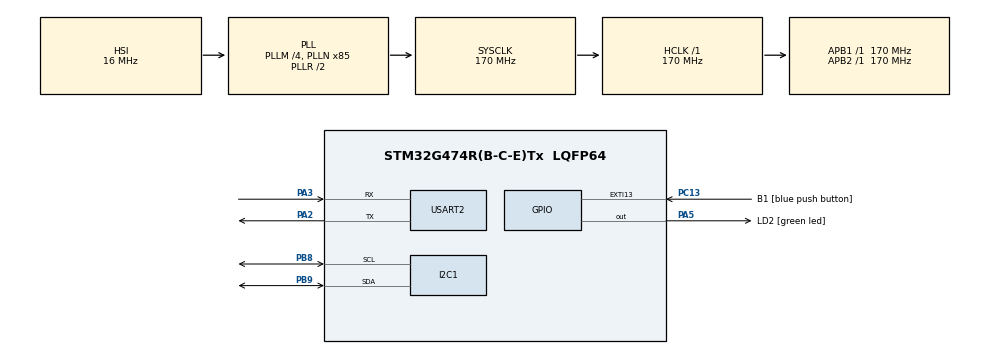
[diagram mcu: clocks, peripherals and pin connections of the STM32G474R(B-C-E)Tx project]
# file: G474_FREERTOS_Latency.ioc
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FREERTOS.Tasks01=defaultTask,24,128,StartDefaultTask,Default,NULL,Dynamic,NULL,NULL;OledTask,24,256,StartOledTask,Default,NULL,Dynamic,NULL,NULL;CpuLoadTask,16,256,StartCpuLoadTask,Default,NULL,Dynamic,NULL,NULL
I2C1.Timing=0x30A0A7FB
Mcu.Family=STM32G4
Mcu.Name=STM32G474R(B-C-E)Tx
Mcu.Package=LQFP64
NVIC.EXTI15_10_IRQn=true\:5\:0\:false\:false\:true\:true\:true\:true\:true
NVIC.PriorityGroup=NVIC_PRIORITYGROUP_4
PA13.GPIO_Label=T_SWDIO
PA13.Mode=Serial_Wire
PA13.Signal=SYS_JTMS-SWDIO
PA14.GPIO_Label=T_SWCLK
PA14.Mode=Serial_Wire
PA14.Signal=SYS_JTCK-SWCLK
PA2.Mode=Asynchronous
PA2.Signal=USART2_TX
PA3.Mode=Asynchronous
PA3.Signal=USART2_RX
PA5.GPIO_Label=LD2 [green led]
PA5.Signal=GPIO_Output
PB3.GPIO_Label=T_SWO
PB3.Signal=SYS_JTDO-SWO
PB8-BOOT0.Mode=I2C
PB8-BOOT0.Signal=I2C1_SCL
PB9.Mode=I2C
PB9.Signal=I2C1_SDA
PC13.GPIO_Label=B1 [blue push button]
PC13.Signal=GPXTI13
PC14-OSC32_IN.Mode=LSE-External-Oscillator
PC14-OSC32_IN.Signal=RCC_OSC32_IN
PC15-OSC32_OUT.Mode=LSE-External-Oscillator
PC15-OSC32_OUT.Signal=RCC_OSC32_OUT
PF0-OSC_IN.Mode=HSE-External-Oscillator
PF0-OSC_IN.Signal=RCC_OSC_IN
PF1-OSC_OUT.Mode=HSE-External-Oscillator
PF1-OSC_OUT.Signal=RCC_OSC_OUT
ProjectManager.HeapSize=0x200
ProjectManager.StackSize=0x400
ProjectManager.TargetToolchain=STM32CubeIDE
RCC.ADC12Freq_Value=170000000
RCC.ADC345Freq_Value=170000000
RCC.AHBFreq_Value=170000000
RCC.APB1Freq_Value=170000000
RCC.APB1TimFreq_Value=170000000
RCC.APB2Freq_Value=170000000
RCC.APB2TimFreq_Value=170000000
RCC.CortexFreq_Value=170000000
RCC.EXTERNAL_CLOCK_VALUE=12288000
RCC.HCLKFreq_Value=170000000
RCC.HSE_VALUE=24000000
RCC.HSI48_VALUE=48000000
RCC.HSI_VALUE=16000000
RCC.PLLM=RCC_PLLM_DIV4
RCC.PLLN=85
RCC.RTCClockSelection=RCC_RTCCLKSOURCE_LSE
RCC.SYSCLKFreq_VALUE=170000000
RCC.SYSCLKSource=RCC_SYSCLKSOURCE_PLLCLK
RCC.USBFreq_Value=170000000
RCC.VCOOutputFreq_Value=340000000
TIM2.Prescaler=169
USART2.VirtualMode-Asynchronous=VM_ASYNC
VP_FREERTOS_VS_CMSIS_V2.Mode=CMSIS_V2
VP_SYS_VS_DBSignals.Mode=DisableDeadBatterySignals
VP_TIM2_VS_ClockSourceINT.Mode=Internal
board=NUCLEO-G474RE

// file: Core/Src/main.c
/* USER CODE BEGIN Header */
/**
  ******************************************************************************
  * @file           : main.c
  * @brief          : Main program body
  ******************************************************************************
  * @attention
  *
  * Copyright (c) 2025 STMicroelectronics.
  * All rights reserved.
  *
  * This software is licensed under terms that can be found in the LICENSE file
  * in the root directory of this software component.
  * If no LICENSE file comes with this software, it is provided AS-IS.
  *
  ******************************************************************************
  */
/* USER CODE END Header */
#include "main.h"
#include "cmsis_os.h"
#include "i2c.h"
#include "tim.h"
#include "usart.h"
#include "gpio.h"

void SystemClock_Config(void);
void MX_FREERTOS_Init(void);

int main(void)
{

  /* MCU Configuration--------------------------------------------------------*/

  /* Reset of all peripherals, Initializes the Flash interface and the Systick. */
  HAL_Init();

  /* Configure the system clock */
  SystemClock_Config();

  /* Initialize all configured peripherals */
  MX_GPIO_Init();
  MX_I2C1_Init();
  MX_USART2_UART_Init();
  MX_TIM2_Init();
  /* USER CODE BEGIN 2 */
  HAL_TIM_Base_Start(&htim2);
  /* USER CODE END 2 */

  /* Init scheduler */
  osKernelInitialize();  /* Call init function for freertos objects (in freertos.c) */
  MX_FREERTOS_Init();

  /* Start scheduler */
  osKernelStart();

  /* We should never get here as control is now taken by the scheduler */
  /* Infinite loop */
  while (1)
  {

  }
}

void SystemClock_Config(void)
{
  RCC_OscInitTypeDef RCC_OscInitStruct = {0};
  RCC_ClkInitTypeDef RCC_ClkInitStruct = {0};

  /** Configure the main internal regulator output voltage
  */
  HAL_PWREx_ControlVoltageScaling(PWR_REGULATOR_VOLTAGE_SCALE1_BOOST);

  /** Initializes the RCC Oscillators according to the specified parameters
  * in the RCC_OscInitTypeDef structure.
  */
  RCC_OscInitStruct.OscillatorType = RCC_OSCILLATORTYPE_HSI;
  RCC_OscInitStruct.HSIState = RCC_HSI_ON;
  RCC_OscInitStruct.HSICalibrationValue = RCC_HSICALIBRATION_DEFAULT;
  RCC_OscInitStruct.PLL.PLLState = RCC_PLL_ON;
  RCC_OscInitStruct.PLL.PLLSource = RCC_PLLSOURCE_HSI;
  RCC_OscInitStruct.PLL.PLLM = RCC_PLLM_DIV4;
  RCC_OscInitStruct.PLL.PLLN = 85;
  RCC_OscInitStruct.PLL.PLLP = RCC_PLLP_DIV2;
  RCC_OscInitStruct.PLL.PLLQ = RCC_PLLQ_DIV2;
  RCC_OscInitStruct.PLL.PLLR = RCC_PLLR_DIV2;
  if (HAL_RCC_OscConfig(&RCC_OscInitStruct) != HAL_OK)
  {
    Error_Handler();
  }

  /** Initializes the CPU, AHB and APB buses clocks
  */
  RCC_ClkInitStruct.ClockType = RCC_CLOCKTYPE_HCLK|RCC_CLOCKTYPE_SYSCLK
                              |RCC_CLOCKTYPE_PCLK1|RCC_CLOCKTYPE_PCLK2;
  RCC_ClkInitStruct.SYSCLKSource = RCC_SYSCLKSOURCE_PLLCLK;
  RCC_ClkInitStruct.AHBCLKDivider = RCC_SYSCLK_DIV1;
  RCC_ClkInitStruct.APB1CLKDivider = RCC_HCLK_DIV1;
  RCC_ClkInitStruct.APB2CLKDivider = RCC_HCLK_DIV1;

  if (HAL_RCC_ClockConfig(&RCC_ClkInitStruct, FLASH_LATENCY_4) != HAL_OK)
  {
    Error_Handler();
  }
}

void Error_Handler(void)
{
  __disable_irq();
  while (1)
  {
  }
}

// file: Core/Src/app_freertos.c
/* USER CODE BEGIN Header */
/**
  ******************************************************************************
  * File Name          : app_freertos.c
  * Description        : Code for freertos applications
  ******************************************************************************
  * @attention
  *
  * Copyright (c) 2025 STMicroelectronics.
  * All rights reserved.
  *
  * This software is licensed under terms that can be found in the LICENSE file
  * in the root directory of this software component.
  * If no LICENSE file comes with this software, it is provided AS-IS.
  *
  ******************************************************************************
  */
/* USER CODE END Header */

#include "FreeRTOS.h"
#include "task.h"
#include "main.h"
#include "cmsis_os.h"

/* USER CODE BEGIN Includes */
#include <stdio.h>
#include "ssd1306.h"
#include "ssd1306_fonts.h"
#include "tim.h"
/* USER CODE END Includes */

/* USER CODE BEGIN PD */

extern TIM_HandleTypeDef htim2;

#define PERIOD_MS   500U
#define N_SAMPLES   1000U
#define BUFF_SIZE   20U

static char buff[BUFF_SIZE];

/* USER CODE END PD */

/* Definitions for OledTask */
osThreadId_t OledTaskHandle;
const osThreadAttr_t OledTask_attributes = {
  .name = "OledTask",
  .priority = osPriorityNormal,
  .stack_size = 256 * 4
};

/* Definitions for CpuLoadTask */
osThreadId_t CpuLoadTaskHandle;
const osThreadAttr_t CpuLoadTask_attributes = {
  .name = "CpuLoadTask",
  .priority = osPriorityBelowNormal,   // ⬅️ PIÙ BASSA DELL'OLED, CARICO PIÙ "GENTILE"
  .stack_size = 256 * 4
};

/* USER CODE BEGIN FunctionPrototypes */
void StartOledTask(void *argument);
void StartCpuLoadTask(void *argument);
/* USER CODE END FunctionPrototypes */

void MX_FREERTOS_Init(void) {

  OledTaskHandle = osThreadNew(StartOledTask, NULL, &OledTask_attributes);
  CpuLoadTaskHandle = osThreadNew(StartCpuLoadTask, NULL, &CpuLoadTask_attributes);
}

/* USER CODE BEGIN Header_StartOledTask */
void StartOledTask(void *argument)
{
  ssd1306_Init();
  ssd1306_Fill(0);
  ssd1306_SetCursor(0, 0);
  ssd1306_WriteString("Latency test", Font_7x10, 1);
  ssd1306_UpdateScreen();

  uint32_t min_us = 0xFFFFFFFFU;
  uint32_t max_us = 0U;
  uint64_t sum_us = 0U;

  const TickType_t periodTicks = pdMS_TO_TICKS(PERIOD_MS);
  TickType_t xLastWakeTime = xTaskGetTickCount();

  uint32_t prev_ts = __HAL_TIM_GET_COUNTER(&htim2);
  const uint32_t nominal_us = PERIOD_MS * 1000U;

  for (uint32_t i = 0; i < N_SAMPLES; i++)
  {
    vTaskDelayUntil(&xLastWakeTime, periodTicks);

    uint32_t now_ts = __HAL_TIM_GET_COUNTER(&htim2);

    uint32_t elapsed_us;
    if (now_ts >= prev_ts)
      elapsed_us = now_ts - prev_ts;
    else
      elapsed_us = (0xFFFFFFFFu - prev_ts) + 1u + now_ts;

    prev_ts = now_ts;

    int32_t lat_signed = (int32_t)elapsed_us - (int32_t)nominal_us;
    uint32_t lat_us    = (lat_signed > 0) ? (uint32_t)lat_signed : 0u;

    if (lat_us < min_us) min_us = lat_us;
    if (lat_us > max_us) max_us = lat_us;
    sum_us += lat_us;

    printf("i=%4lu, lat=%lu us (elapsed=%lu us)\r\n",
           (unsigned long)i,
           (unsigned long)lat_us,
           (unsigned long)elapsed_us);

    ssd1306_Fill(0);
    ssd1306_SetCursor(0, 0);
    snprintf(buff, BUFF_SIZE, "Sample %lu", (unsigned long)(i + 1));
    ssd1306_WriteString(buff, Font_7x10, 1);

    ssd1306_SetCursor(0, 16);
    snprintf(buff, BUFF_SIZE, "%lu us", (unsigned long)lat_us);
    ssd1306_WriteString(buff, Font_7x10, 1);

    ssd1306_UpdateScreen();
  }

  uint32_t mean_us   = (uint32_t)(sum_us / N_SAMPLES);
  uint32_t jitter_us = max_us - min_us;

  printf("\r\n=== FreeRTOS Latency Summary ===\r\n");
  printf("Period: %u ms, Samples: %u\r\n", PERIOD_MS, N_SAMPLES);
  printf("Min: %lu us, Max: %lu us, Mean: %lu us, Jitter: %lu us\r\n",
         min_us, max_us, mean_us, jitter_us);

  ssd1306_Fill(0);
  ssd1306_SetCursor(0, 0);
  ssd1306_WriteString("Test done", Font_7x10, 1);
  ssd1306_SetCursor(0, 16);
  ssd1306_WriteString("See serial", Font_7x10, 1);
  ssd1306_UpdateScreen();

  for(;;) osDelay(1000);
}
/* USER CODE END StartOledTask */

/* USER CODE BEGIN Header_StartCpuLoadTask */
/**
  * Task di carico *molto più pesante*
  * per generare latenza su OLED.
  */
/* USER CODE END Header_StartCpuLoadTask */
void StartCpuLoadTask(void *argument)
{
  /* USER CODE BEGIN StartCpuLoadTask */

  volatile float xf = 1.0f;
  volatile uint32_t xi = 0;

  for(;;)
  {
    /* Carico moderato: qualche operazione in virgola mobile + interi */
    for (uint32_t outer = 0; outer < 5U; ++outer)
    {
      for (uint32_t i = 0; i < 100000U; ++i)
      {
        xf = xf * 1.00001f + 0.00001f;  // carico float
        xi += i;                        // carico int
        xi ^= (i << 1);
      }
    }

    /* Cedi la CPU agli altri task */
    taskYIELD();
  }

  /* USER CODE END StartCpuLoadTask */
}
